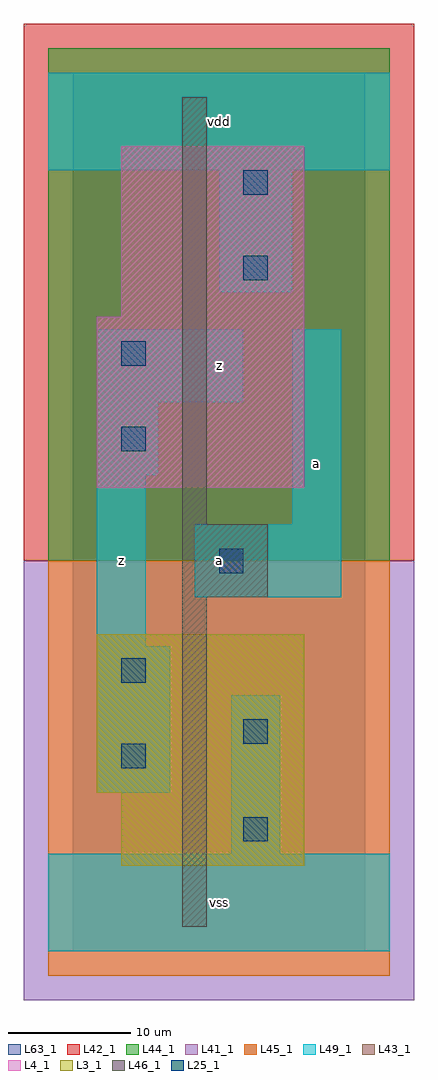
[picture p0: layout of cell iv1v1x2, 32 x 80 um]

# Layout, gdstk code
import gdstk
lib = gdstk.Library(unit=1e-6, precision=1e-09)
def R(c, l, rs):  # rectangles x0, y0, x1, y1
    for r in rs: c.add(gdstk.rectangle(r[:2], r[2:], *l))
L3_1 = (3, 1)
L4_1 = (4, 1)
L25_1 = (25, 1)
L41_1 = (41, 1)
L42_1 = (42, 1)
L43_1 = (43, 1)
L44_1 = (44, 1)
L45_1 = (45, 1)
L46_1 = (46, 1)
L49_1 = (49, 1)
L63_1 = (63, 1)

iv1v1x2 = lib.new_cell('iv1v1x2')
R(iv1v1x2, L3_1, [(4,7,19,13), (2,13,19,26)])
R(iv1v1x2, L4_1, [(2,38,19,52), (4,52,19,66)])
R(iv1v1x2, L25_1, [(14,9,16,11), (4,15,6,17), (14,17,16,19), (4,22,6,24), (12,31,14,33), (4,41,6,43), (4,48,6,50), (14,55,16,57), (14,62,16,64)])
R(iv1v1x2, L41_1, [(-4,-4,28,32)])
R(iv1v1x2, L42_1, [(-4,32,28,76)])
R(iv1v1x2, L43_1, [(4,7,19,13), (2,13,19,26), (2,38,19,52), (4,52,19,66)])
R(iv1v1x2, L44_1, [(-2,32,26,74)])
R(iv1v1x2, L45_1, [(-2,-2,26,32)])
R(iv1v1x2, L46_1, [(9,2,11,29), (9,29,16,35), (9,35,11,70)])
R(iv1v1x2, L49_1, [(-2,0,26,8), (13,8,17,21), (2,13,8,25), (2,25,6,39), (10,29,22,35), (18,35,22,51), (2,39,7,45), (2,45,14,51), (12,54,18,64), (-2,64,26,72)])
R(iv1v1x2, L63_1, [(0,0,24,72)])
iv1v1x2.add(gdstk.Label('z', (4,32), layer=49, texttype=1))
iv1v1x2.add(gdstk.Label('vss', (12,4), layer=49, texttype=1))
iv1v1x2.add(gdstk.Label('a', (12,32), layer=49, texttype=1))
iv1v1x2.add(gdstk.Label('z', (12,48), layer=49, texttype=1))
iv1v1x2.add(gdstk.Label('vdd', (12,68), layer=49, texttype=1))
iv1v1x2.add(gdstk.Label('a', (20,40), layer=49, texttype=1))

lib.write_gds('iv1v1x2.gds')
